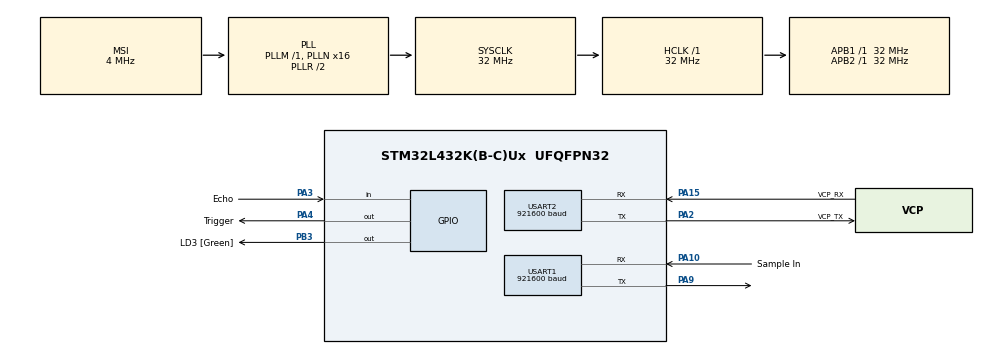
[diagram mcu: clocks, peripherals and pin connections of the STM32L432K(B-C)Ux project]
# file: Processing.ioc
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Mcu.Family=STM32L4
Mcu.Name=STM32L432K(B-C)Ux
Mcu.Package=UFQFPN32
NVIC.PriorityGroup=NVIC_PRIORITYGROUP_4
NVIC.USART1_IRQn=true\:0\:0\:false\:false\:true\:true\:true\:true
NVIC.USART2_IRQn=true\:0\:0\:false\:false\:true\:true\:true\:true
PA0.GPIO_Label=MCO [High speed clock in]
PA0.Mode=HSE-External-Clock-Source-for-LittleOrca
PA0.Signal=RCC_CK_IN
PA10.GPIO_Label=Sample In
PA10.Mode=Asynchronous
PA10.Signal=USART1_RX
PA13\ (JTMS-SWDIO).GPIO_Label=SWDIO
PA13\ (JTMS-SWDIO).Mode=Serial_Wire
PA13\ (JTMS-SWDIO).Signal=SYS_JTMS-SWDIO
PA14\ (JTCK-SWCLK).GPIO_Label=SWCLK
PA14\ (JTCK-SWCLK).Mode=Serial_Wire
PA14\ (JTCK-SWCLK).Signal=SYS_JTCK-SWCLK
PA15\ (JTDI).GPIO_Label=VCP_RX
PA15\ (JTDI).Mode=Asynchronous
PA15\ (JTDI).Signal=USART2_RX
PA2.GPIO_Label=VCP_TX
PA2.Mode=Asynchronous
PA2.Signal=USART2_TX
PA3.GPIO_Label=Echo
PA3.Signal=GPIO_Input
PA4.GPIO_Label=Trigger
PA4.Signal=GPIO_Output
PA9.Mode=Asynchronous
PA9.Signal=USART1_TX
PB3\ (JTDO-TRACESWO).GPIO_Label=LD3 [Green]
PB3\ (JTDO-TRACESWO).Signal=GPIO_Output
PC14-OSC32_IN\ (PC14).Mode=LSE-External-Oscillator
PC14-OSC32_IN\ (PC14).Signal=RCC_OSC32_IN
PC15-OSC32_OUT\ (PC15).Mode=LSE-External-Oscillator
PC15-OSC32_OUT\ (PC15).Signal=RCC_OSC32_OUT
ProjectManager.HeapSize=0x200
ProjectManager.StackSize=0x400
ProjectManager.TargetToolchain=STM32CubeIDE
RCC.ADCFreq_Value=32000000
RCC.AHBFreq_Value=32000000
RCC.APB1Freq_Value=32000000
RCC.APB1TimFreq_Value=32000000
RCC.APB2Freq_Value=32000000
RCC.APB2TimFreq_Value=32000000
RCC.CortexFreq_Value=32000000
RCC.HCLKFreq_Value=32000000
RCC.HSE_VALUE=8000000
RCC.HSI16_VALUE=16000000
RCC.HSI48_VALUE=48000000
RCC.HSI_VALUE=16000000
RCC.MSI_VALUE=4000000
RCC.PLLMUL=RCC_PLLMUL_4
RCC.PLLN=16
RCC.PLLSAI1N=16
RCC.SYSCLKFreq_VALUE=32000000
RCC.SYSCLKSource=RCC_SYSCLKSOURCE_PLLCLK
RCC.USBFreq_Value=32000000
RCC.VCOOutputFreq_Value=64000000
TIM16.Prescaler=31
USART1.BaudRate=921600
USART1.VirtualMode-Asynchronous=VM_ASYNC
USART2.BaudRate=921600
USART2.VirtualMode-Asynchronous=VM_ASYNC
VP_TIM16_VS_ClockSourceINT.Mode=Enable_Timer
board=NUCLEO-L432KC

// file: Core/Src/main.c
/* USER CODE BEGIN Header */
/**
  ******************************************************************************
  * @file           : main.c
  * @brief          : Main program body
  ******************************************************************************
  * @attention
  *
  * Copyright (c) 2025 STMicroelectronics.
  * All rights reserved.
  *
  * This software is licensed under terms that can be found in the LICENSE file
  * in the root directory of this software component.
  * If no LICENSE file comes with this software, it is provided AS-IS.
  *
  ******************************************************************************
  */
/* USER CODE END Header */
#include "main.h"

/* USER CODE BEGIN Includes */
#include <stdio.h>
#include <string.h>
/* USER CODE END Includes */

TIM_HandleTypeDef htim16;

UART_HandleTypeDef huart1;
UART_HandleTypeDef huart2;

/* USER CODE BEGIN PV */
uint8_t currentSample = 0;
uint8_t previousSample = 0;
int recordingState = 1;            //#1 if 1 it is recording, else it is not
uint8_t distanceTriggerMode = '0'; //#2 if 1 it is in distance trigger mode if not then manual recording mode

int queue_len = 100;
int queue[100];
int front = 0;
int rear = 0;
int len = 0;
int mov_len = 2;
int mov_av = -1;
int average = -1;

/* USER CODE END PV */

void SystemClock_Config(void);
static void MX_GPIO_Init(void);
static void MX_USART2_UART_Init(void);
static void MX_USART1_UART_Init(void);
static void MX_TIM16_Init(void);

/* USER CODE BEGIN 0 */
int get_distance() { //#3 the function to get distance from ultrasonic, shouldnt need to be touched
    HAL_GPIO_WritePin(Trigger_GPIO_Port, Trigger_Pin, 1);
    __HAL_TIM_SET_COUNTER(&htim16, 0);

    while (__HAL_TIM_GET_COUNTER(&htim16) <= 10) {
    };
    HAL_GPIO_WritePin(Trigger_GPIO_Port, Trigger_Pin, 0);

    while (HAL_GPIO_ReadPin(Echo_GPIO_Port, Echo_Pin) == 0) {
    };
    __HAL_TIM_SET_COUNTER(&htim16, 0);

    while (HAL_GPIO_ReadPin(Echo_GPIO_Port, Echo_Pin) == 1) {
    };
    uint32_t echoTime = __HAL_TIM_GET_COUNTER(&htim16);

    int distance = echoTime / 29 / 2;

    return distance;
}

void add_queue(int new) {
    queue[rear] = new;
    rear = (rear + 1) % queue_len;
    len += 1;
    if (len > queue_len) {
        len = queue_len;
    }
}

int average_queue2() {
    if (average == -1) {
        int i = front;
        int sum = 0;
        for (int count = 0; count < queue_len; count++) {
            sum += queue[i];
            i = (i + 1) % queue_len;
        }
        average = sum / len;
    } else {
        average -= queue[front] / queue_len;
        average += queue[rear - 1] / queue_len;
    }
    return average;
}

int last_average_queue2() {
    int i;
    if (rear >= mov_len) {
        i = rear - mov_len;
    } else {
        i = queue_len + rear - mov_len;
    }

    if (mov_av == -1) {
        int sum = 0;
        for (int count = 0; count < mov_len; count++) {
            sum += queue[i];
            i = (i + 1) % queue_len;
        }
        int mov_av = sum / mov_len;
        return mov_av;

    } else {
        mov_av -= queue[i - 1] / mov_len;
        mov_av += queue[rear - 1] / mov_len;
        return mov_av;
    }
}

/* USER CODE END 0 */

int main(void) {

    /* MCU Configuration--------------------------------------------------------*/

    /* Reset of all peripherals, Initializes the Flash interface and the Systick. */
    HAL_Init();

    /* Configure the system clock */
    SystemClock_Config();

    /* Initialize all configured peripherals */
    MX_GPIO_Init();
    MX_USART2_UART_Init();
    MX_USART1_UART_Init();
    MX_TIM16_Init();
    /* USER CODE BEGIN 2 */
    HAL_UART_Receive_IT(&huart1, &currentSample, 1);
    HAL_UART_Receive_IT(&huart2, &distanceTriggerMode, 1);
    HAL_TIM_Base_Start(&htim16);
    /* USER CODE END 2 */

    /* Infinite loop */
    /* USER CODE BEGIN WHILE */
    while (1) {
        if (distanceTriggerMode == '1') { //#4 if trigger mode is active read the distance, if its less than 10 then record, if its not then dont transmit data to pc
            int distance = get_distance();

            if (distance < 10) {
                recordingState = 1;
            } else {
                recordingState = 0;
            }
        } else {
            recordingState = 1;
        }
        HAL_Delay(60);
    }

    /* USER CODE END WHILE */

}

void SystemClock_Config(void) {
    RCC_OscInitTypeDef RCC_OscInitStruct = {0};
    RCC_ClkInitTypeDef RCC_ClkInitStruct = {0};

    /** Configure the main internal regulator output voltage
  */
    if (HAL_PWREx_ControlVoltageScaling(PWR_REGULATOR_VOLTAGE_SCALE1) != HAL_OK) {
        Error_Handler();
    }

    /** Configure LSE Drive Capability
  */
    HAL_PWR_EnableBkUpAccess();
    __HAL_RCC_LSEDRIVE_CONFIG(RCC_LSEDRIVE_LOW);

    /** Initializes the RCC Oscillators according to the specified parameters
  * in the RCC_OscInitTypeDef structure.
  */
    RCC_OscInitStruct.OscillatorType = RCC_OSCILLATORTYPE_LSE | RCC_OSCILLATORTYPE_MSI;
    RCC_OscInitStruct.LSEState = RCC_LSE_ON;
    RCC_OscInitStruct.MSIState = RCC_MSI_ON;
    RCC_OscInitStruct.MSICalibrationValue = 0;
    RCC_OscInitStruct.MSIClockRange = RCC_MSIRANGE_6;
    RCC_OscInitStruct.PLL.PLLState = RCC_PLL_ON;
    RCC_OscInitStruct.PLL.PLLSource = RCC_PLLSOURCE_MSI;
    RCC_OscInitStruct.PLL.PLLM = 1;
    RCC_OscInitStruct.PLL.PLLN = 16;
    RCC_OscInitStruct.PLL.PLLP = RCC_PLLP_DIV7;
    RCC_OscInitStruct.PLL.PLLQ = RCC_PLLQ_DIV2;
    RCC_OscInitStruct.PLL.PLLR = RCC_PLLR_DIV2;
    if (HAL_RCC_OscConfig(&RCC_OscInitStruct) != HAL_OK) {
        Error_Handler();
    }

    /** Initializes the CPU, AHB and APB buses clocks
  */
    RCC_ClkInitStruct.ClockType = RCC_CLOCKTYPE_HCLK | RCC_CLOCKTYPE_SYSCLK | RCC_CLOCKTYPE_PCLK1 | RCC_CLOCKTYPE_PCLK2;
    RCC_ClkInitStruct.SYSCLKSource = RCC_SYSCLKSOURCE_PLLCLK;
    RCC_ClkInitStruct.AHBCLKDivider = RCC_SYSCLK_DIV1;
    RCC_ClkInitStruct.APB1CLKDivider = RCC_HCLK_DIV1;
    RCC_ClkInitStruct.APB2CLKDivider = RCC_HCLK_DIV1;

    if (HAL_RCC_ClockConfig(&RCC_ClkInitStruct, FLASH_LATENCY_1) != HAL_OK) {
        Error_Handler();
    }

    /** Enable MSI Auto calibration
  */
    HAL_RCCEx_EnableMSIPLLMode();
}

static void MX_TIM16_Init(void) {

    htim16.Instance = TIM16;
    htim16.Init.Prescaler = 31;
    htim16.Init.CounterMode = TIM_COUNTERMODE_UP;
    htim16.Init.Period = 65535;
    htim16.Init.ClockDivision = TIM_CLOCKDIVISION_DIV1;
    htim16.Init.RepetitionCounter = 0;
    htim16.Init.AutoReloadPreload = TIM_AUTORELOAD_PRELOAD_DISABLE;
    if (HAL_TIM_Base_Init(&htim16) != HAL_OK) {
        Error_Handler();
    }
}

static void MX_USART1_UART_Init(void) {

    huart1.Instance = USART1;
    huart1.Init.BaudRate = 921600;
    huart1.Init.WordLength = UART_WORDLENGTH_8B;
    huart1.Init.StopBits = UART_STOPBITS_1;
    huart1.Init.Parity = UART_PARITY_NONE;
    huart1.Init.Mode = UART_MODE_TX_RX;
    huart1.Init.HwFlowCtl = UART_HWCONTROL_NONE;
    huart1.Init.OverSampling = UART_OVERSAMPLING_16;
    huart1.Init.OneBitSampling = UART_ONE_BIT_SAMPLE_DISABLE;
    huart1.AdvancedInit.AdvFeatureInit = UART_ADVFEATURE_NO_INIT;
    if (HAL_UART_Init(&huart1) != HAL_OK) {
        Error_Handler();
    }
}

static void MX_USART2_UART_Init(void) {

    huart2.Instance = USART2;
    huart2.Init.BaudRate = 921600;
    huart2.Init.WordLength = UART_WORDLENGTH_8B;
    huart2.Init.StopBits = UART_STOPBITS_1;
    huart2.Init.Parity = UART_PARITY_NONE;
    huart2.Init.Mode = UART_MODE_TX_RX;
    huart2.Init.HwFlowCtl = UART_HWCONTROL_NONE;
    huart2.Init.OverSampling = UART_OVERSAMPLING_16;
    huart2.Init.OneBitSampling = UART_ONE_BIT_SAMPLE_DISABLE;
    huart2.AdvancedInit.AdvFeatureInit = UART_ADVFEATURE_NO_INIT;
    if (HAL_UART_Init(&huart2) != HAL_OK) {
        Error_Handler();
    }
}

static void MX_GPIO_Init(void) {
    GPIO_InitTypeDef GPIO_InitStruct = {0};

    /* GPIO Ports Clock Enable */
    __HAL_RCC_GPIOC_CLK_ENABLE();
    __HAL_RCC_GPIOA_CLK_ENABLE();
    __HAL_RCC_GPIOB_CLK_ENABLE();

    /*Configure GPIO pin Output Level */
    HAL_GPIO_WritePin(Trigger_GPIO_Port, Trigger_Pin, GPIO_PIN_RESET);

    /*Configure GPIO pin Output Level */
    HAL_GPIO_WritePin(LD3_GPIO_Port, LD3_Pin, GPIO_PIN_RESET);

    /*Configure GPIO pin : Echo_Pin */
    GPIO_InitStruct.Pin = Echo_Pin;
    GPIO_InitStruct.Mode = GPIO_MODE_INPUT;
    GPIO_InitStruct.Pull = GPIO_NOPULL;
    HAL_GPIO_Init(Echo_GPIO_Port, &GPIO_InitStruct);

    /*Configure GPIO pin : Trigger_Pin */
    GPIO_InitStruct.Pin = Trigger_Pin;
    GPIO_InitStruct.Mode = GPIO_MODE_OUTPUT_PP;
    GPIO_InitStruct.Pull = GPIO_NOPULL;
    GPIO_InitStruct.Speed = GPIO_SPEED_FREQ_LOW;
    HAL_GPIO_Init(Trigger_GPIO_Port, &GPIO_InitStruct);

    /*Configure GPIO pin : LD3_Pin */
    GPIO_InitStruct.Pin = LD3_Pin;
    GPIO_InitStruct.Mode = GPIO_MODE_OUTPUT_PP;
    GPIO_InitStruct.Pull = GPIO_NOPULL;
    GPIO_InitStruct.Speed = GPIO_SPEED_FREQ_LOW;
    HAL_GPIO_Init(LD3_GPIO_Port, &GPIO_InitStruct);

}

/* USER CODE BEGIN 4 */
void HAL_UART_RxCpltCallback(UART_HandleTypeDef *huart) {
    if (huart->Instance == USART2) {
        HAL_UART_Receive_IT(&huart2, &distanceTriggerMode, 1);
    } else if (huart->Instance == USART1) {
        HAL_UART_Receive_IT(&huart1, &currentSample, 1);

    	if (recordingState == 1) {
            if (len < queue_len) {
                add_queue(currentSample);

                if (len == queue_len) {
                    last_average_queue2();
                }

            } else {
                add_queue(currentSample);
                uint8_t filteredSample = last_average_queue2();
                HAL_UART_Transmit(&huart2, &filteredSample, 1, HAL_MAX_DELAY);
            }
        }
    }
}

/* USER CODE END 4 */

void Error_Handler(void) {
    __disable_irq();
    while (1) {
    }
}
